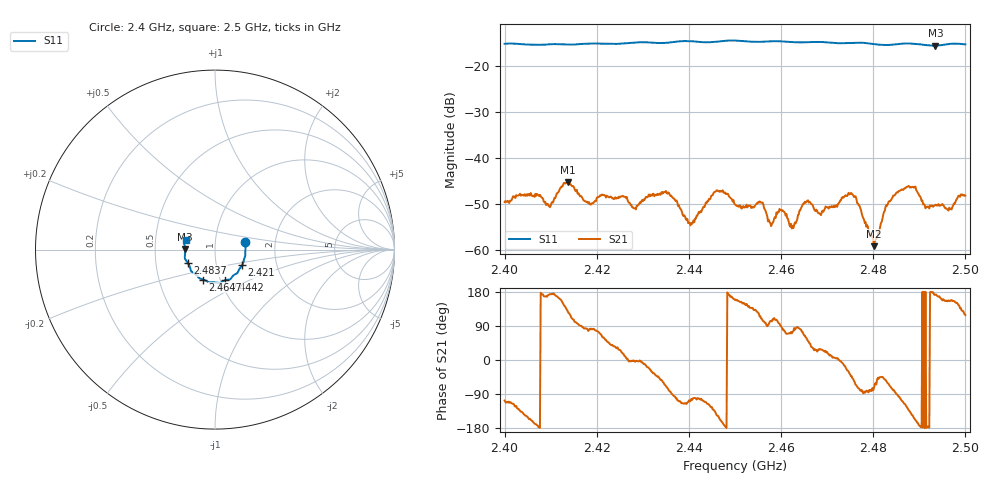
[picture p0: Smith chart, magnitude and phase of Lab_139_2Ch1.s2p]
# Hz S RI R 50
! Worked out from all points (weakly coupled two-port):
!   601 points, 2.4 GHz to 2.5 GHz, reference 50 ohm
!   highest |S21| = -45.33 dB at 2.4137 GHz (marker M1); lowest = -59.2 dB at 2.4802 GHz (marker M2)
!   lowest |S11| = -15.6 dB at 2.4935 GHz (marker M3), VSWR 1.40, Z = 35.8 + j0.204 ohm
!   |S11| at or under -10 dB: start of sweep to end of sweep
!   S12 and S22 are empty: the file has one direction only
!   S11 on the Smith chart (normalised r, x): 2.4 GHz: 1.40, +0.12; 2.421 GHz: 1.33, -0.24; 2.4442 GHz: 1.05, -0.37; 2.4647 GHz: 0.83, -0.29; 2.4837 GHz: 0.73, -0.11; 2.5 GHz: 0.72, +0.08
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2.4e9  0.1683 0.0409  -0.000973 -0.00318  0 0  0 0
2.4095e9  0.169 -0.0259  -0.00301 0.000455  0 0  0 0
2.413667e9  0.1637 -0.0481  -0.00345 0.00418  0 0  0 0
2.416667e9  0.1588 -0.0683  2.45e-06 0.00384  0 0  0 0
2.421e9  0.1505 -0.0879  0.00161 0.00363  0 0  0 0
2.428167e9  0.1282 -0.1245  0.00283 -0.000134  0 0  0 0
2.433333e9  0.108 -0.1399  0.00288 -0.00272  0 0  0 0
2.440333e9  0.0808 -0.1667  -0.000568 -0.00176  0 0  0 0
2.444167e9  0.0567 -0.1711  -0.00147 -0.00304  0 0  0 0
2.45e9  0.0245 -0.1866  -0.00291 0.00115  0 0  0 0
2.457667e9  -0.024 -0.1829  -0.000441 0.00191  0 0  0 0
2.460167e9  -0.0363 -0.1806  0.000217 0.00266  0 0  0 0
2.462333e9  -0.0491 -0.1745  0.000572 0.00161  0 0  0 0
2.464667e9  -0.0672 -0.1668  0.000833 0.00299  0 0  0 0
2.466667e9  -0.0804 -0.1626  0.00261 0.00175  0 0  0 0
2.475667e9  -0.1262 -0.1252  0.0025 -0.00302  0 0  0 0
2.480167e9  -0.1378 -0.1031  0.000315 -0.00106  0 0  0 0
2.483333e9  -0.1504 -0.0761  0.00151 -0.00298  0 0  0 0
2.483667e9  -0.1521 -0.0732  0.0012 -0.00317  0 0  0 0
2.488667e9  -0.1682 -0.0452  -0.00412 -0.00252  0 0  0 0
2.4935e9  -0.1656 0.00277  -0.00308 0.0004  0 0  0 0
2.5e9  -0.1627 0.0524  -0.00186 0.00342  0 0  0 0
